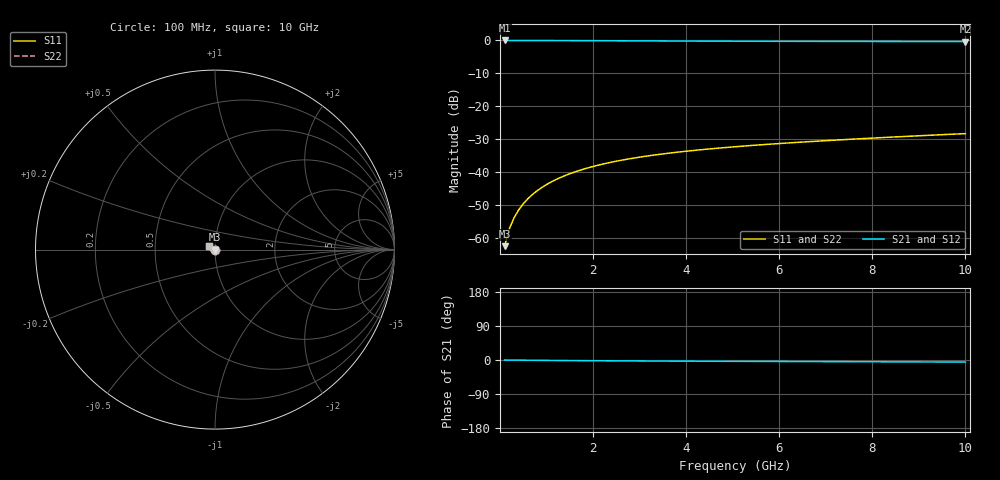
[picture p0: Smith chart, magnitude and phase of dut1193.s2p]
! Touchstone file exported from HFSS 2024.1.0
!  File:  C:/UserFiles/LocalFiles/RDL_TSV_Batchsim/temp_TSV1_1193_1780075795.aedt
!  Generated:  01:34:54 AM May 30, 2026
!  Design:  TSV1
!  Project:  temp_TSV1_1193_1780075795
!  Setup:  Setup1
!  Solution:  Sweep
! Variables:
!  dtsv = 6.08um
!  hbump = 3um
!  htsv = 81.38um
!  lrdl = 252.1521522um
!  p = 40
!  p1 = 47.95um
!  t = 500um
!  trdl = 3um
!  wrdl = 24.89489489um
# GHz S MA R 50.000000
! Terminal data exported
! Port[1] = TSV22_T1
! Port[2] = TSV22_T2
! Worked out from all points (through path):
!   100 points, 100 MHz to 10 GHz, reference 50 ohm
!   highest |S21| = 0.00 dB at 100 MHz (marker M1); lowest = -0.3 dB at 10 GHz (marker M2)
!   lowest |S11| = -62.4 dB at 100 MHz (marker M3), VSWR 1.00, Z = 50 - j0.067 ohm
!   |S11| at or under -10 dB: start of sweep to end of sweep
!   |S22| runs from -62.4 to -28.2 dB; largest |S21 - S12| = 3.3e-15
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0.1  0.000762 -61.5  0.9996 -0.1  0.9996 -0.1  0.000762 -61.5
! Gamma 0 0 0 0
! Port Impedance 50 0 50 0
0.2  0.001385 -77.7  0.9995 -0.2  0.9995 -0.2  0.001385 -77.7
0.3  0.002035 -85.1  0.9994 -0.3  0.9994 -0.3  0.002035 -85.1
0.4  0.002689 -90.0  0.9992 -0.4  0.9992 -0.4  0.002689 -90.0
0.5  0.003343 -93.7  0.999 -0.5  0.999 -0.5  0.003343 -93.7
0.6  0.003994 -96.9  0.9987 -0.6  0.9987 -0.6  0.003994 -96.9
0.7  0.004641 -99.7  0.9984 -0.7  0.9984 -0.7  0.004641 -99.7
0.8  0.005281 -102.4  0.998 -0.8  0.998 -0.8  0.005281 -102.4
0.9  0.005915 -104.9  0.9976 -0.9  0.9976 -0.9  0.005915 -104.9
1.1  0.00716 -109.6  0.9968 -1.1  0.9968 -1.1  0.00716 -109.6
1.4  0.008961 -116.1  0.9952 -1.4  0.9952 -1.4  0.008961 -116.1
1.6  0.01011 -120.2  0.994 -1.6  0.994 -1.6  0.01011 -120.2
1.8  0.01122 -124.1  0.9928 -1.7  0.9928 -1.7  0.01122 -124.1
2.1  0.01281 -129.8  0.9909 -1.9  0.9909 -1.9  0.01281 -129.8
2.5  0.01478 -136.8  0.9882 -2.2  0.9882 -2.2  0.01478 -136.8
2.9  0.0166 -143.4  0.9856 -2.5  0.9856 -2.5  0.0166 -143.4
3.4  0.01867 -150.9  0.9825 -2.8  0.9825 -2.8  0.01867 -150.9
4.2  0.02165 -161.7  0.978 -3.1  0.978 -3.1  0.02165 -161.7
5.1  0.02463 -172.1  0.9738 -3.5  0.9738 -3.5  0.02463 -172.1
6.7  0.02941 172.7  0.9682 -4.2  0.9682 -4.2  0.02941 172.7
8.4  0.03423 160.2  0.9642 -4.8  0.9642 -4.8  0.03422 160.2
10  0.03871 150.7  0.9615 -5.4  0.9615 -5.4  0.03871 150.7
